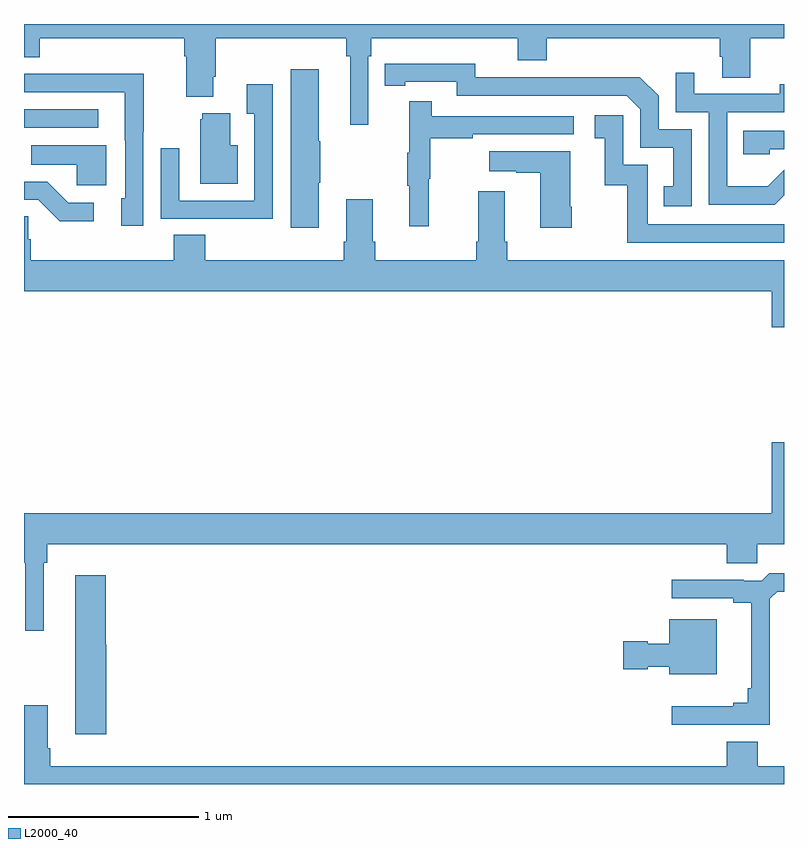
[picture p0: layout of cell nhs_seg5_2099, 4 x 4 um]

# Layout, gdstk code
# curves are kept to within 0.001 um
import gdstk
lib = gdstk.Library(unit=1e-6, precision=1e-09)
def R(c, l, rs):  # rectangles x0, y0, x1, y1
    for r in rs: c.add(gdstk.rectangle(r[:2], r[2:], *l))
def P(c, l, *ps):  # polygons
    for p in ps: c.add(gdstk.Polygon(p, *l))
L2000_40 = (2000, 40)

nhs_seg5_2099 = lib.new_cell('nhs_seg5_2099')
R(nhs_seg5_2099, L2000_40, [(233,892.254,233.392,892.35)])
P(nhs_seg5_2099, L2000_40, [(234.813,892.628),(234.827,892.628),(234.827,892.724),(235.598,892.724),(235.598,892.607),(235.751,892.607),(235.751,892.724),(236.663,892.724),(236.663,892.626),(236.675,892.626),(236.675,892.516),(236.823,892.516),(236.823,892.724),(237,892.724),(237,892.799),(233,892.799),(233,892.625),(233.084,892.625),(233.084,892.724),(233.843,892.724),(233.843,892.628),(233.855,892.628),(233.855,892.415),(233.995,892.415),(233.995,892.522),(234.008,892.522),(234.008,892.724),(234.697,892.724),(234.697,892.628),(234.716,892.628),(234.716,892.269),(234.813,892.269)],
  [(236.514,892.245),(236.34,892.245),(236.34,892.422),(236.242,892.52),(235.834,892.52),(235.834,892.518),(235.374,892.518),(235.374,892.591),(234.898,892.59),(234.898,892.474),(235.006,892.474),(235.006,892.494),(235.278,892.494),(235.278,892.422),(236.172,892.422),(236.244,892.35),(236.244,892.149),(236.417,892.149),(236.417,891.945),(236.368,891.945),(236.368,891.84),(236.514,891.84)],
  [(234.55,891.964),(234.558,891.964),(234.558,892.181),(234.55,892.181),(234.55,892.561),(234.404,892.561),(234.404,891.726),(234.55,891.726)],
  [(237,891.899),(237,892.032),(236.914,891.946),(236.7,891.946),(236.7,892.335),(237,892.335),(237,892.483),(236.978,892.483),(236.978,892.431),(236.527,892.431),(236.527,892.543),(236.43,892.543),(236.43,892.335),(236.604,892.335),(236.604,891.849),(236.95,891.849)],
  [(233.628,892.231),(233.631,892.231),(233.631,892.538),(233.167,892.538),(233.167,892.536),(233,892.536),(233,892.44),(233.531,892.44),(233.531,892.186),(233.532,892.186),(233.532,891.882),(233.513,891.882),(233.513,891.738),(233.628,891.738)],
  [(234.309,892.483),(234.173,892.483),(234.173,892.327),(234.213,892.327),(234.213,891.87),(233.817,891.87),(233.817,892.144),(233.721,892.144),(233.721,891.774),(234.037,891.774),(234.037,891.773),(234.309,891.773)],
  [(235.13,891.984),(235.138,891.984),(235.138,892.198),(235.361,892.198),(235.361,892.218),(235.894,892.218),(235.894,892.314),(235.145,892.314),(235.145,892.393),(235.028,892.393),(235.028,892.121),(235.017,892.121),(235.017,891.947),(235.028,891.947),(235.028,891.735),(235.13,891.735)],
  [(234.124,892.162),(234.085,892.162),(234.085,892.33),(233.939,892.33),(233.939,892.299),(233.927,892.299),(233.927,891.959),(234.124,891.959)],
  [(237,891.744),(236.283,891.744),(236.283,892.059),(236.154,892.059),(236.154,892.318),(236.004,892.318),(236.004,892.197),(236.057,892.197),(236.057,891.951),(236.175,891.951),(236.175,891.648),(237,891.648)],
  [(236.925,892.14),(237,892.14),(237,892.236),(236.785,892.236),(236.785,892.113),(236.925,892.113)],
  [(233.434,892.162),(233.038,892.162),(233.038,892.058),(233.277,892.058),(233.277,891.95),(233.434,891.95)],
  [(235.884,891.838),(235.876,891.838),(235.876,892.129),(235.449,892.129),(235.449,892.025),(235.592,892.025),(235.592,892.015),(235.718,892.015),(235.718,891.726),(235.884,891.726)],
  [(233.368,891.858),(233.233,891.858),(233.122,891.969),(233,891.969),(233,891.873),(233.076,891.873),(233.189,891.761),(233.368,891.761)],
  [(237,891.556),(235.544,891.556),(235.544,891.652),(235.531,891.652),(235.531,891.919),(235.391,891.919),(235.391,891.652),(235.379,891.652),(235.379,891.556),(234.848,891.556),(234.848,891.652),(234.835,891.652),(234.835,891.877),(234.695,891.877),(234.695,891.652),(234.683,891.652),(234.683,891.556),(233.954,891.556),(233.954,891.689),(233.789,891.689),(233.789,891.556),(233.036,891.556),(233.036,891.665),(233.022,891.665),(233.022,891.788),(233,891.788),(233,891.392),(236.936,891.392),(236.936,891.204),(237,891.204)],
  [(233.104,889.964),(233.123,889.964),(233.123,890.06),(236.699,890.06),(236.699,889.962),(236.859,889.962),(236.859,890.06),(237,890.06),(237,890.599),(236.936,890.599),(236.936,890.224),(233,890.224),(233,889.964),(233.007,889.964),(233.007,889.605),(233.104,889.605)],
  [(236.925,889.773),(236.964,889.812),(237,889.812),(237,889.909),(236.923,889.909),(236.883,889.869),(236.789,889.869),(236.789,889.874),(236.409,889.874),(236.409,889.776),(236.732,889.776),(236.732,889.754),(236.828,889.754),(236.828,889.303),(236.809,889.303),(236.809,889.226),(236.732,889.226),(236.732,889.207),(236.409,889.207),(236.409,889.11),(236.925,889.11)],
  [(233.434,889.533),(233.429,889.533),(233.429,889.897),(233.27,889.897),(233.27,889.062),(233.434,889.062)],
  [(236.647,889.666),(236.396,889.666),(236.396,889.537),(236.283,889.537),(236.283,889.55),(236.154,889.55),(236.154,889.403),(236.283,889.403),(236.283,889.415),(236.396,889.415),(236.396,889.376),(236.647,889.376)],
  [(237,888.892),(236.863,888.892),(236.863,889.021),(236.699,889.021),(236.699,888.892),(233.138,888.892),(233.138,888.988),(233.125,888.988),(233.125,889.213),(233,889.213),(233,888.799),(237,888.799)])

lib.write_gds('nhs_seg5_2099.gds')
